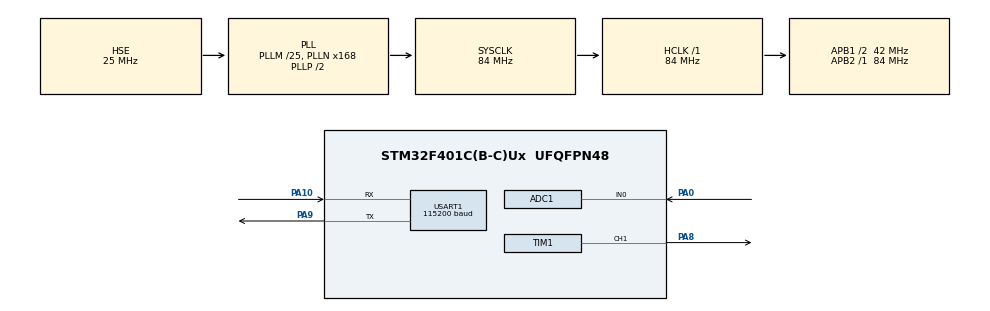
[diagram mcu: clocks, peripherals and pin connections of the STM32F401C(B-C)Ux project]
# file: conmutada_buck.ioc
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ADC1.Channel-0\#ChannelRegularConversion=ADC_CHANNEL_0
ADC1.NbrOfConversionFlag=1
ADC1.Rank-0\#ChannelRegularConversion=1
ADC1.SamplingTime-0\#ChannelRegularConversion=ADC_SAMPLETIME_3CYCLES
ADC1.master=1
Mcu.Family=STM32F4
Mcu.Name=STM32F401C(B-C)Ux
Mcu.Package=UFQFPN48
NVIC.PriorityGroup=NVIC_PRIORITYGROUP_4
PA0-WKUP.Signal=ADCx_IN0
PA10.Mode=Asynchronous
PA10.Signal=USART1_RX
PA8.Signal=S_TIM1_CH1
PA9.Mode=Asynchronous
PA9.Signal=USART1_TX
PH0\ -\ OSC_IN.Mode=HSE-External-Oscillator
PH0\ -\ OSC_IN.Signal=RCC_OSC_IN
PH1\ -\ OSC_OUT.Mode=HSE-External-Oscillator
PH1\ -\ OSC_OUT.Signal=RCC_OSC_OUT
ProjectManager.HeapSize=0x200
ProjectManager.StackSize=0x400
ProjectManager.TargetToolchain=STM32CubeIDE
RCC.48MHZClocksFreq_Value=42000000
RCC.AHBFreq_Value=84000000
RCC.APB1CLKDivider=RCC_HCLK_DIV2
RCC.APB1Freq_Value=42000000
RCC.APB1TimFreq_Value=84000000
RCC.APB2Freq_Value=84000000
RCC.APB2TimFreq_Value=84000000
RCC.CortexFreq_Value=84000000
RCC.HCLKFreq_Value=84000000
RCC.HSE_VALUE=25000000
RCC.HSI_VALUE=16000000
RCC.LSE_VALUE=32768
RCC.PLLM=25
RCC.PLLN=168
RCC.PLLSourceVirtual=RCC_PLLSOURCE_HSE
RCC.SYSCLKFreq_VALUE=84000000
RCC.SYSCLKSource=RCC_SYSCLKSOURCE_PLLCLK
RCC.VCOOutputFreq_Value=168000000
SH.ADCx_IN0.0=ADC1_IN0,IN0
SH.S_TIM1_CH1.0=TIM1_CH1,PWM Generation1 CH1
TIM1.AutoReloadPreload=TIM_AUTORELOAD_PRELOAD_ENABLE
TIM1.Channel-PWM\ Generation1\ CH1=TIM_CHANNEL_1
TIM1.OCIdleState_1=TIM_OCIDLESTATE_SET
TIM1.OCMode_PWM-PWM\ Generation1\ CH1=TIM_OCMODE_PWM2
TIM1.Period=840
USART1.BaudRate=115200
USART1.VirtualMode=VM_ASYNC
VP_TIM1_VS_ClockSourceINT.Mode=Internal
board=custom

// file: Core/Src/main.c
/* USER CODE BEGIN Header */
/**
  ******************************************************************************
  * @file           : main.c
  * @brief          : Main program body
  ******************************************************************************
  * @attention
  *
  * Copyright (c) 2025 STMicroelectronics.
  * All rights reserved.
  *
  * This software is licensed under terms that can be found in the LICENSE file
  * in the root directory of this software component.
  * If no LICENSE file comes with this software, it is provided AS-IS.
  *
  ******************************************************************************
  */
/* USER CODE END Header */
#include "main.h"

/* USER CODE BEGIN Includes */
#include "uart.h"
#include "adc_x.h"
#include "PWMB.h"

#include "stdint.h"
#include "stdio.h"
#include "stdlib.h"
#include "math.h"
#include "string.h"
/* USER CODE END Includes */

ADC_HandleTypeDef hadc1;

TIM_HandleTypeDef htim1;

UART_HandleTypeDef huart1;

/* USER CODE BEGIN PV */
char texto[100];
uint16_t codigo;
float voltaje;

/* USER CODE END PV */

void SystemClock_Config(void);
static void MX_GPIO_Init(void);
static void MX_ADC1_Init(void);
static void MX_TIM1_Init(void);
static void MX_USART1_UART_Init(void);

int main(void)
{

  /* MCU Configuration--------------------------------------------------------*/

  /* Reset of all peripherals, Initializes the Flash interface and the Systick. */
  HAL_Init();

  /* Configure the system clock */
  SystemClock_Config();

  /* Initialize all configured peripherals */
  MX_GPIO_Init();
  MX_ADC1_Init();
  MX_TIM1_Init();
  MX_USART1_UART_Init();
  /* USER CODE BEGIN 2 */
   uartx_write_text(&huart1, "INICIANDO\r\n");
   PWM_init(&PWM1);
   PWM_valor(&PWM1, 700);
  /* USER CODE END 2 */

  /* Infinite loop */
  /* USER CODE BEGIN WHILE */
  while (1)
  {
	  codigo=ADC_Read(&hadc1);
	  voltaje=codigo*3.3/4095.0;
	  voltaje=voltaje*8.1439;

	  sprintf(texto ,"VOL=%.1f\r\n\r\n",voltaje);
     uartx_write_text(&huart1, texto);
     HAL_Delay(500);

    /* USER CODE END WHILE */

  }
}

void SystemClock_Config(void)
{
  RCC_OscInitTypeDef RCC_OscInitStruct = {0};
  RCC_ClkInitTypeDef RCC_ClkInitStruct = {0};

  /** Configure the main internal regulator output voltage
  */
  __HAL_RCC_PWR_CLK_ENABLE();
  __HAL_PWR_VOLTAGESCALING_CONFIG(PWR_REGULATOR_VOLTAGE_SCALE2);

  /** Initializes the RCC Oscillators according to the specified parameters
  * in the RCC_OscInitTypeDef structure.
  */
  RCC_OscInitStruct.OscillatorType = RCC_OSCILLATORTYPE_HSE;
  RCC_OscInitStruct.HSEState = RCC_HSE_ON;
  RCC_OscInitStruct.PLL.PLLState = RCC_PLL_ON;
  RCC_OscInitStruct.PLL.PLLSource = RCC_PLLSOURCE_HSE;
  RCC_OscInitStruct.PLL.PLLM = 25;
  RCC_OscInitStruct.PLL.PLLN = 168;
  RCC_OscInitStruct.PLL.PLLP = RCC_PLLP_DIV2;
  RCC_OscInitStruct.PLL.PLLQ = 4;
  if (HAL_RCC_OscConfig(&RCC_OscInitStruct) != HAL_OK)
  {
    Error_Handler();
  }

  /** Initializes the CPU, AHB and APB buses clocks
  */
  RCC_ClkInitStruct.ClockType = RCC_CLOCKTYPE_HCLK|RCC_CLOCKTYPE_SYSCLK
                              |RCC_CLOCKTYPE_PCLK1|RCC_CLOCKTYPE_PCLK2;
  RCC_ClkInitStruct.SYSCLKSource = RCC_SYSCLKSOURCE_PLLCLK;
  RCC_ClkInitStruct.AHBCLKDivider = RCC_SYSCLK_DIV1;
  RCC_ClkInitStruct.APB1CLKDivider = RCC_HCLK_DIV2;
  RCC_ClkInitStruct.APB2CLKDivider = RCC_HCLK_DIV1;

  if (HAL_RCC_ClockConfig(&RCC_ClkInitStruct, FLASH_LATENCY_2) != HAL_OK)
  {
    Error_Handler();
  }
}

static void MX_ADC1_Init(void)
{

  ADC_ChannelConfTypeDef sConfig = {0};

  /** Configure the global features of the ADC (Clock, Resolution, Data Alignment and number of conversion)
  */
  hadc1.Instance = ADC1;
  hadc1.Init.ClockPrescaler = ADC_CLOCK_SYNC_PCLK_DIV4;
  hadc1.Init.Resolution = ADC_RESOLUTION_12B;
  hadc1.Init.ScanConvMode = DISABLE;
  hadc1.Init.ContinuousConvMode = DISABLE;
  hadc1.Init.DiscontinuousConvMode = DISABLE;
  hadc1.Init.ExternalTrigConvEdge = ADC_EXTERNALTRIGCONVEDGE_NONE;
  hadc1.Init.ExternalTrigConv = ADC_SOFTWARE_START;
  hadc1.Init.DataAlign = ADC_DATAALIGN_RIGHT;
  hadc1.Init.NbrOfConversion = 1;
  hadc1.Init.DMAContinuousRequests = DISABLE;
  hadc1.Init.EOCSelection = ADC_EOC_SINGLE_CONV;
  if (HAL_ADC_Init(&hadc1) != HAL_OK)
  {
    Error_Handler();
  }

  /** Configure for the selected ADC regular channel its corresponding rank in the sequencer and its sample time.
  */
  sConfig.Channel = ADC_CHANNEL_0;
  sConfig.Rank = 1;
  sConfig.SamplingTime = ADC_SAMPLETIME_3CYCLES;
  if (HAL_ADC_ConfigChannel(&hadc1, &sConfig) != HAL_OK)
  {
    Error_Handler();
  }

}

static void MX_TIM1_Init(void)
{

  TIM_ClockConfigTypeDef sClockSourceConfig = {0};
  TIM_MasterConfigTypeDef sMasterConfig = {0};
  TIM_OC_InitTypeDef sConfigOC = {0};
  TIM_BreakDeadTimeConfigTypeDef sBreakDeadTimeConfig = {0};

  htim1.Instance = TIM1;
  htim1.Init.Prescaler = 0;
  htim1.Init.CounterMode = TIM_COUNTERMODE_UP;
  htim1.Init.Period = 840;
  htim1.Init.ClockDivision = TIM_CLOCKDIVISION_DIV1;
  htim1.Init.RepetitionCounter = 0;
  htim1.Init.AutoReloadPreload = TIM_AUTORELOAD_PRELOAD_ENABLE;
  if (HAL_TIM_Base_Init(&htim1) != HAL_OK)
  {
    Error_Handler();
  }
  sClockSourceConfig.ClockSource = TIM_CLOCKSOURCE_INTERNAL;
  if (HAL_TIM_ConfigClockSource(&htim1, &sClockSourceConfig) != HAL_OK)
  {
    Error_Handler();
  }
  if (HAL_TIM_PWM_Init(&htim1) != HAL_OK)
  {
    Error_Handler();
  }
  sMasterConfig.MasterOutputTrigger = TIM_TRGO_RESET;
  sMasterConfig.MasterSlaveMode = TIM_MASTERSLAVEMODE_DISABLE;
  if (HAL_TIMEx_MasterConfigSynchronization(&htim1, &sMasterConfig) != HAL_OK)
  {
    Error_Handler();
  }
  sConfigOC.OCMode = TIM_OCMODE_PWM2;
  sConfigOC.Pulse = 0;
  sConfigOC.OCPolarity = TIM_OCPOLARITY_HIGH;
  sConfigOC.OCNPolarity = TIM_OCNPOLARITY_HIGH;
  sConfigOC.OCFastMode = TIM_OCFAST_DISABLE;
  sConfigOC.OCIdleState = TIM_OCIDLESTATE_SET;
  sConfigOC.OCNIdleState = TIM_OCNIDLESTATE_RESET;
  if (HAL_TIM_PWM_ConfigChannel(&htim1, &sConfigOC, TIM_CHANNEL_1) != HAL_OK)
  {
    Error_Handler();
  }
  sBreakDeadTimeConfig.OffStateRunMode = TIM_OSSR_DISABLE;
  sBreakDeadTimeConfig.OffStateIDLEMode = TIM_OSSI_DISABLE;
  sBreakDeadTimeConfig.LockLevel = TIM_LOCKLEVEL_OFF;
  sBreakDeadTimeConfig.DeadTime = 0;
  sBreakDeadTimeConfig.BreakState = TIM_BREAK_DISABLE;
  sBreakDeadTimeConfig.BreakPolarity = TIM_BREAKPOLARITY_HIGH;
  sBreakDeadTimeConfig.AutomaticOutput = TIM_AUTOMATICOUTPUT_DISABLE;
  if (HAL_TIMEx_ConfigBreakDeadTime(&htim1, &sBreakDeadTimeConfig) != HAL_OK)
  {
    Error_Handler();
  }
  HAL_TIM_MspPostInit(&htim1);

}

static void MX_USART1_UART_Init(void)
{

  huart1.Instance = USART1;
  huart1.Init.BaudRate = 115200;
  huart1.Init.WordLength = UART_WORDLENGTH_8B;
  huart1.Init.StopBits = UART_STOPBITS_1;
  huart1.Init.Parity = UART_PARITY_NONE;
  huart1.Init.Mode = UART_MODE_TX_RX;
  huart1.Init.HwFlowCtl = UART_HWCONTROL_NONE;
  huart1.Init.OverSampling = UART_OVERSAMPLING_16;
  if (HAL_UART_Init(&huart1) != HAL_OK)
  {
    Error_Handler();
  }

}

static void MX_GPIO_Init(void)
{

  /* GPIO Ports Clock Enable */
  __HAL_RCC_GPIOH_CLK_ENABLE();
  __HAL_RCC_GPIOA_CLK_ENABLE();

}

void Error_Handler(void)
{
  __disable_irq();
  while (1)
  {
  }
}
